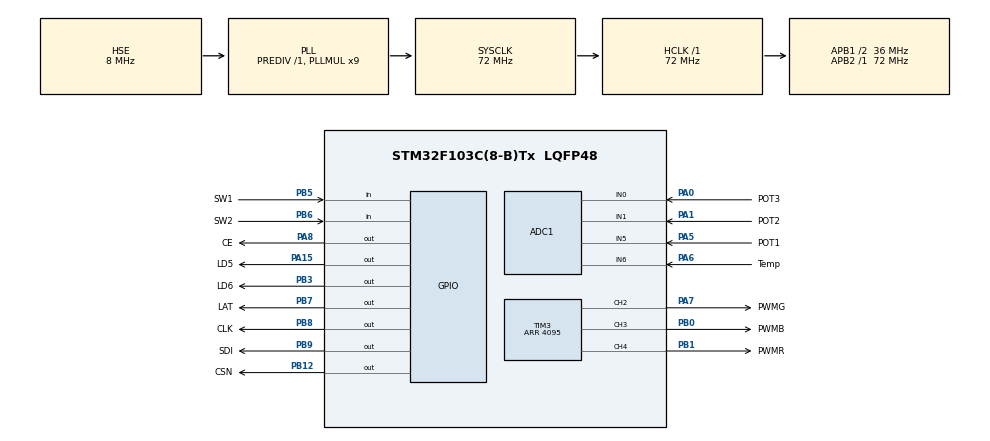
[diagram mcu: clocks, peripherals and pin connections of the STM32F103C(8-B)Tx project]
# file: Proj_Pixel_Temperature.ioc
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ADC1.Channel-0\#ChannelRegularConversion=ADC_CHANNEL_0
ADC1.Channel-1\#ChannelRegularConversion=ADC_CHANNEL_1
ADC1.Channel-2\#ChannelRegularConversion=ADC_CHANNEL_5
ADC1.Channel-3\#ChannelRegularConversion=ADC_CHANNEL_6
ADC1.Channel-4\#ChannelRegularConversion=ADC_CHANNEL_TEMPSENSOR
ADC1.ContinuousConvMode=ENABLE
ADC1.NbrOfConversion=5
ADC1.NbrOfConversionFlag=1
ADC1.Rank-0\#ChannelRegularConversion=1
ADC1.Rank-1\#ChannelRegularConversion=2
ADC1.Rank-2\#ChannelRegularConversion=3
ADC1.Rank-3\#ChannelRegularConversion=4
ADC1.Rank-4\#ChannelRegularConversion=5
ADC1.SamplingTime-0\#ChannelRegularConversion=ADC_SAMPLETIME_1CYCLE_5
ADC1.SamplingTime-1\#ChannelRegularConversion=ADC_SAMPLETIME_1CYCLE_5
ADC1.SamplingTime-2\#ChannelRegularConversion=ADC_SAMPLETIME_1CYCLE_5
ADC1.SamplingTime-3\#ChannelRegularConversion=ADC_SAMPLETIME_1CYCLE_5
ADC1.SamplingTime-4\#ChannelRegularConversion=ADC_SAMPLETIME_1CYCLE_5
ADC1.master=1
Dma.ADC1.0.Direction=DMA_PERIPH_TO_MEMORY
Dma.ADC1.0.Instance=DMA1_Channel1
Dma.ADC1.0.MemDataAlignment=DMA_MDATAALIGN_WORD
Dma.ADC1.0.MemInc=DMA_MINC_ENABLE
Dma.ADC1.0.Mode=DMA_CIRCULAR
Dma.ADC1.0.PeriphDataAlignment=DMA_PDATAALIGN_WORD
Dma.ADC1.0.PeriphInc=DMA_PINC_DISABLE
Dma.ADC1.0.Priority=DMA_PRIORITY_LOW
Dma.Request0=ADC1
Mcu.Family=STM32F1
Mcu.Name=STM32F103C(8-B)Tx
Mcu.Package=LQFP48
NVIC.DMA1_Channel1_IRQn=true\:0\:0\:false\:false\:true\:false\:true
NVIC.PriorityGroup=NVIC_PRIORITYGROUP_4
PA0-WKUP.GPIO_Label=POT3
PA0-WKUP.Signal=ADCx_IN0
PA1.GPIO_Label=POT2
PA1.Signal=ADCx_IN1
PA13.GPIO_Label=SWDIO
PA13.Mode=Serial_Wire
PA13.Signal=SYS_JTMS-SWDIO
PA14.GPIO_Label=SWCLK
PA14.Mode=Serial_Wire
PA14.Signal=SYS_JTCK-SWCLK
PA15.GPIO_Label=LD5
PA15.GPIO_ModeDefaultOutputPP=GPIO_MODE_OUTPUT_PP
PA15.GPIO_PuPd=GPIO_NOPULL
PA15.GPIO_Speed=GPIO_SPEED_FREQ_HIGH
PA15.PinState=GPIO_PIN_RESET
PA15.Signal=GPIO_Output
PA5.GPIO_Label=POT1
PA5.Signal=ADCx_IN5
PA6.GPIO_Label=Temp
PA6.Signal=ADCx_IN6
PA7.GPIO_Label=PWMG
PA7.Signal=S_TIM3_CH2
PA8.GPIO_Label=CE
PA8.GPIO_Speed=GPIO_SPEED_FREQ_HIGH
PA8.Signal=GPIO_Output
PB0.GPIO_Label=PWMB
PB0.Signal=S_TIM3_CH3
PB1.GPIO_Label=PWMR
PB1.Signal=S_TIM3_CH4
PB12.GPIO_Label=CSN
PB12.GPIO_Speed=GPIO_SPEED_FREQ_HIGH
PB12.Signal=GPIO_Output
PB13.GPIO_Label=SCK
PB13.Signal=SPI2_SCK
PB14.GPIO_Label=MISO
PB14.Signal=SPI2_MISO
PB15.GPIO_Label=MOSI
PB15.Signal=SPI2_MOSI
PB3.GPIO_Label=LD6
PB3.GPIO_ModeDefaultOutputPP=GPIO_MODE_OUTPUT_PP
PB3.GPIO_PuPd=GPIO_NOPULL
PB3.GPIO_Speed=GPIO_SPEED_FREQ_HIGH
PB3.PinState=GPIO_PIN_RESET
PB3.Signal=GPIO_Output
PB5.GPIO_Label=SW1
PB5.GPIO_Mode=GPIO_MODE_INPUT
PB5.GPIO_PuPd=GPIO_NOPULL
PB5.Signal=GPIO_Input
PB6.GPIO_Label=SW2
PB6.GPIO_Mode=GPIO_MODE_INPUT
PB6.GPIO_PuPd=GPIO_NOPULL
PB6.Signal=GPIO_Input
PB7.GPIO_Label=LAT
PB7.GPIO_ModeDefaultOutputPP=GPIO_MODE_OUTPUT_OD
PB7.GPIO_Speed=GPIO_SPEED_FREQ_HIGH
PB7.PinState=GPIO_PIN_RESET
PB7.Signal=GPIO_Output
PB8.GPIO_Label=CLK
PB8.GPIO_ModeDefaultOutputPP=GPIO_MODE_OUTPUT_OD
PB8.GPIO_Speed=GPIO_SPEED_FREQ_HIGH
PB8.PinState=GPIO_PIN_RESET
PB8.Signal=GPIO_Output
PB9.GPIO_Label=SDI
PB9.GPIO_ModeDefaultOutputPP=GPIO_MODE_OUTPUT_OD
PB9.GPIO_Speed=GPIO_SPEED_FREQ_HIGH
PB9.PinState=GPIO_PIN_RESET
PB9.Signal=GPIO_Output
PD0-OSC_IN.GPIO_Label=OSC_IN
PD0-OSC_IN.Mode=HSE-External-Oscillator
PD0-OSC_IN.Signal=RCC_OSC_IN
PD1-OSC_OUT.GPIO_Label=OSC_OUT
PD1-OSC_OUT.Mode=HSE-External-Oscillator
PD1-OSC_OUT.Signal=RCC_OSC_OUT
ProjectManager.HeapSize=0x200
ProjectManager.StackSize=0x400
ProjectManager.TargetToolchain=MDK-ARM V5.27
RCC.ADCPresc=RCC_ADCPCLK2_DIV6
RCC.AHBFreq_Value=72000000
RCC.APB1CLKDivider=RCC_HCLK_DIV2
RCC.APB1Freq_Value=36000000
RCC.APB1TimFreq_Value=72000000
RCC.APB2Freq_Value=72000000
RCC.APB2TimFreq_Value=72000000
RCC.HCLKFreq_Value=72000000
RCC.PLLMUL=RCC_PLL_MUL9
RCC.PLLSourceVirtual=RCC_PLLSOURCE_HSE
RCC.SYSCLKFreq_VALUE=72000000
RCC.SYSCLKSource=RCC_SYSCLKSOURCE_PLLCLK
RCC.USBFreq_Value=72000000
SH.ADCx_IN0.0=ADC1_IN0,IN0
SH.ADCx_IN1.0=ADC1_IN1,IN1
SH.ADCx_IN5.0=ADC1_IN5,IN5
SH.ADCx_IN6.0=ADC1_IN6,IN6
SH.S_TIM3_CH2.0=TIM3_CH2,PWM Generation2 CH2
SH.S_TIM3_CH3.0=TIM3_CH3,PWM Generation3 CH3
SH.S_TIM3_CH4.0=TIM3_CH4,PWM Generation4 CH4
TIM3.Channel-PWM\ Generation2\ CH2=TIM_CHANNEL_2
TIM3.Channel-PWM\ Generation3\ CH3=TIM_CHANNEL_3
TIM3.Channel-PWM\ Generation4\ CH4=TIM_CHANNEL_4
TIM3.Period=4095
VP_ADC1_TempSens_Input.Mode=IN-TempSens
VP_TIM3_VS_ClockSourceINT.Mode=Internal
board=custom

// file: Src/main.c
/* USER CODE BEGIN Header */
/**
  ******************************************************************************
  * @file           : main.c
  * @brief          : Main program body
  ******************************************************************************
  * @attention
  *
  * <h2><center>&copy; Copyright (c) 2020 STMicroelectronics.
  * All rights reserved.</center></h2>
  *
  * This software component is licensed by ST under BSD 3-Clause license,
  * the "License"; You may not use this file except in compliance with the
  * License. You may obtain a copy of the License at:
  *                        opensource.org/licenses/BSD-3-Clause
  *
  ******************************************************************************
  */
/* USER CODE END Header */

#include "main.h"
#include "adc.h"
#include "dma.h"
#include "tim.h"
#include "gpio.h"

/* USER CODE BEGIN Includes */
#include "..\..\bsp\display.h"
/* USER CODE END Includes */

void SystemClock_Config(void);

/* USER CODE BEGIN 0 */
void HAL_SYSTICK_Callback(void)
{
  DisplayRun();
}
/* USER CODE END 0 */

int main(void)
{

  /* MCU Configuration--------------------------------------------------------*/

  /* Reset of all peripherals, Initializes the Flash interface and the Systick. */
  HAL_Init();

  /* Configure the system clock */
  SystemClock_Config();

  /* Initialize all configured peripherals */
  MX_GPIO_Init();
  MX_DMA_Init();
  MX_ADC1_Init();
  MX_TIM3_Init();
  /* USER CODE BEGIN 2 */
  HAL_TIM_PWM_Start(&htim3, TIM_CHANNEL_2);
  HAL_TIM_PWM_Start(&htim3, TIM_CHANNEL_3);
  HAL_TIM_PWM_Start(&htim3, TIM_CHANNEL_4);

  uint32_t pData[5];

  HAL_ADCEx_Calibration_Start(&hadc1);
  HAL_NVIC_DisableIRQ(DMA1_Channel1_IRQn);
  HAL_ADC_Start_DMA(&hadc1, pData, 5);
  /* USER CODE END 2 */

  /* Infinite loop */
  /* USER CODE BEGIN WHILE */
  while (1)
  {
    TIM3->CCR2 = pData[0];
    TIM3->CCR3 = pData[1];
    TIM3->CCR4 = pData[2];

#define ADC_REFERENCE_VOLTAGE_MV  3300.0f
#define ADC_MAX_OUTPUT_VALUE      4095.0f

		float Vsense_Diode = ADC_REFERENCE_VOLTAGE_MV * pData[3] / ADC_MAX_OUTPUT_VALUE;
    float V25_Diode = ADC_REFERENCE_VOLTAGE_MV * 780 / ADC_MAX_OUTPUT_VALUE;
    float Avg_Slope_Diode = 1.3f; // mV/°C
    float Temperature_Diode	= (V25_Diode - Vsense_Diode) / Avg_Slope_Diode + 25.0f; // °C

    float Vsense_Micro = ADC_REFERENCE_VOLTAGE_MV * pData[4] / ADC_MAX_OUTPUT_VALUE;
    float V25_Micro = ADC_REFERENCE_VOLTAGE_MV * 1705 / ADC_MAX_OUTPUT_VALUE;
    float Avg_Slope_Micro = 4.3f; // mV/°C
    float Temperature_Micro = (V25_Micro - Vsense_Micro) / Avg_Slope_Micro + 25.0f; // °C

    GPIO_PinState key1 = HAL_GPIO_ReadPin(SW1_GPIO_Port, SW1_Pin);
    GPIO_PinState key2 = HAL_GPIO_ReadPin(SW2_GPIO_Port, SW2_Pin);

    if (key1 && key2)
      DisplayNumber(pData[4]);
    if (!key1)
      DisplayNumber(Temperature_Diode);
    if (!key2)
      DisplayNumber(Temperature_Micro);

    HAL_Delay(100);
    /* USER CODE END WHILE */

  }
}

void SystemClock_Config(void)
{
  RCC_OscInitTypeDef RCC_OscInitStruct = {0};
  RCC_ClkInitTypeDef RCC_ClkInitStruct = {0};
  RCC_PeriphCLKInitTypeDef PeriphClkInit = {0};

  /** Initializes the CPU, AHB and APB busses clocks
  */
  RCC_OscInitStruct.OscillatorType = RCC_OSCILLATORTYPE_HSE;
  RCC_OscInitStruct.HSEState = RCC_HSE_ON;
  RCC_OscInitStruct.HSEPredivValue = RCC_HSE_PREDIV_DIV1;
  RCC_OscInitStruct.HSIState = RCC_HSI_ON;
  RCC_OscInitStruct.PLL.PLLState = RCC_PLL_ON;
  RCC_OscInitStruct.PLL.PLLSource = RCC_PLLSOURCE_HSE;
  RCC_OscInitStruct.PLL.PLLMUL = RCC_PLL_MUL9;
  if (HAL_RCC_OscConfig(&RCC_OscInitStruct) != HAL_OK)
  {
    Error_Handler();
  }
  /** Initializes the CPU, AHB and APB busses clocks
  */
  RCC_ClkInitStruct.ClockType = RCC_CLOCKTYPE_HCLK|RCC_CLOCKTYPE_SYSCLK
                              |RCC_CLOCKTYPE_PCLK1|RCC_CLOCKTYPE_PCLK2;
  RCC_ClkInitStruct.SYSCLKSource = RCC_SYSCLKSOURCE_PLLCLK;
  RCC_ClkInitStruct.AHBCLKDivider = RCC_SYSCLK_DIV1;
  RCC_ClkInitStruct.APB1CLKDivider = RCC_HCLK_DIV2;
  RCC_ClkInitStruct.APB2CLKDivider = RCC_HCLK_DIV1;

  if (HAL_RCC_ClockConfig(&RCC_ClkInitStruct, FLASH_LATENCY_2) != HAL_OK)
  {
    Error_Handler();
  }
  PeriphClkInit.PeriphClockSelection = RCC_PERIPHCLK_ADC;
  PeriphClkInit.AdcClockSelection = RCC_ADCPCLK2_DIV6;
  if (HAL_RCCEx_PeriphCLKConfig(&PeriphClkInit) != HAL_OK)
  {
    Error_Handler();
  }
}

void Error_Handler(void)
{
}

/************************ (C) COPYRIGHT STMicroelectronics *****END OF FILE****/
